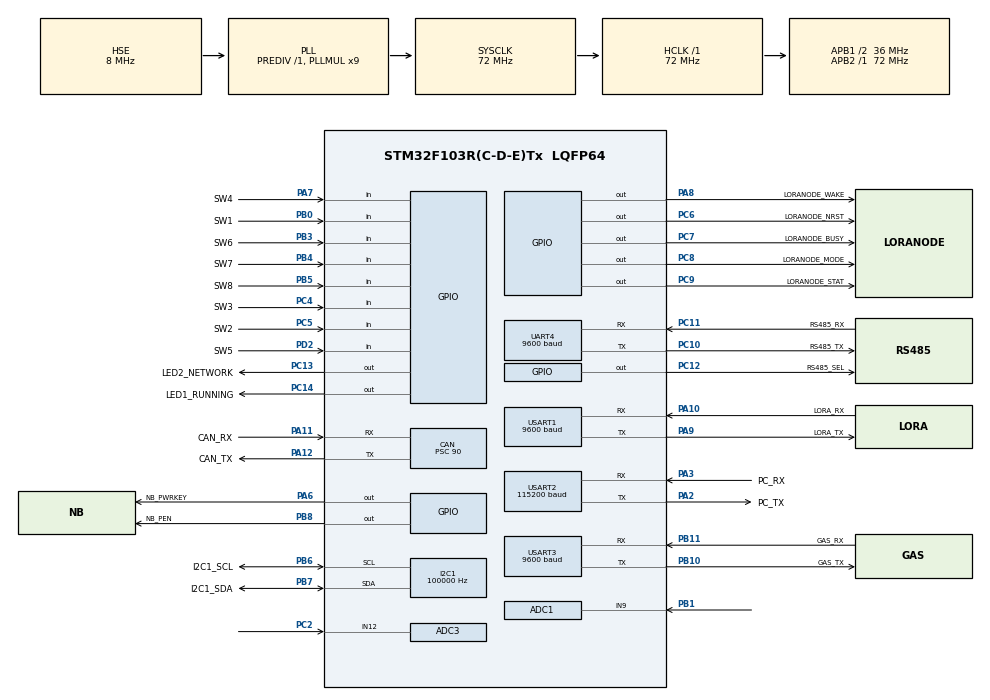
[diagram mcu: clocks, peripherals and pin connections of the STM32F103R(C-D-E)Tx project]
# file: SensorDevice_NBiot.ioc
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ADC1.Channel-0\#ChannelRegularConversion=ADC_CHANNEL_9
ADC1.InjNumberOfConversion=0
ADC1.NbrOfConversionFlag=1
ADC1.Rank-0\#ChannelRegularConversion=1
ADC1.SamplingTime-0\#ChannelRegularConversion=ADC_SAMPLETIME_239CYCLES_5
ADC1.master=1
ADC3.Channel-0\#ChannelRegularConversion=ADC_CHANNEL_12
ADC3.NbrOfConversionFlag=1
ADC3.Rank-0\#ChannelRegularConversion=1
ADC3.SamplingTime-0\#ChannelRegularConversion=ADC_SAMPLETIME_239CYCLES_5
CAN.BS1=CAN_BS1_6TQ
CAN.CalculateTimeBit=20000
CAN.CalculateTimeQuantum=2500.0
CAN.Prescaler=90
CAN.TXFP=DISABLE
Dma.ADC1.1.Direction=DMA_PERIPH_TO_MEMORY
Dma.ADC1.1.Instance=DMA1_Channel1
Dma.ADC1.1.MemDataAlignment=DMA_MDATAALIGN_HALFWORD
Dma.ADC1.1.MemInc=DMA_MINC_ENABLE
Dma.ADC1.1.Mode=DMA_NORMAL
Dma.ADC1.1.PeriphDataAlignment=DMA_PDATAALIGN_HALFWORD
Dma.ADC1.1.PeriphInc=DMA_PINC_DISABLE
Dma.ADC1.1.Priority=DMA_PRIORITY_LOW
Dma.Request0=USART1_RX
Dma.Request1=ADC1
Dma.Request2=USART2_RX
Dma.Request3=USART2_TX
Dma.Request4=UART4_RX
Dma.Request5=UART4_TX
Dma.Request6=USART3_RX
Dma.UART4_RX.4.Direction=DMA_PERIPH_TO_MEMORY
Dma.UART4_RX.4.Instance=DMA2_Channel3
Dma.UART4_RX.4.MemDataAlignment=DMA_MDATAALIGN_BYTE
Dma.UART4_RX.4.MemInc=DMA_MINC_ENABLE
Dma.UART4_RX.4.Mode=DMA_CIRCULAR
Dma.UART4_RX.4.PeriphDataAlignment=DMA_PDATAALIGN_BYTE
Dma.UART4_RX.4.PeriphInc=DMA_PINC_DISABLE
Dma.UART4_RX.4.Priority=DMA_PRIORITY_LOW
Dma.UART4_TX.5.Direction=DMA_MEMORY_TO_PERIPH
Dma.UART4_TX.5.Instance=DMA2_Channel5
Dma.UART4_TX.5.MemDataAlignment=DMA_MDATAALIGN_BYTE
Dma.UART4_TX.5.MemInc=DMA_MINC_ENABLE
Dma.UART4_TX.5.Mode=DMA_NORMAL
Dma.UART4_TX.5.PeriphDataAlignment=DMA_PDATAALIGN_BYTE
Dma.UART4_TX.5.PeriphInc=DMA_PINC_DISABLE
Dma.UART4_TX.5.Priority=DMA_PRIORITY_LOW
Dma.USART1_RX.0.Direction=DMA_PERIPH_TO_MEMORY
Dma.USART1_RX.0.Instance=DMA1_Channel5
Dma.USART1_RX.0.MemDataAlignment=DMA_MDATAALIGN_BYTE
Dma.USART1_RX.0.MemInc=DMA_MINC_ENABLE
Dma.USART1_RX.0.Mode=DMA_CIRCULAR
Dma.USART1_RX.0.PeriphDataAlignment=DMA_PDATAALIGN_BYTE
Dma.USART1_RX.0.PeriphInc=DMA_PINC_DISABLE
Dma.USART1_RX.0.Priority=DMA_PRIORITY_LOW
Dma.USART2_RX.2.Direction=DMA_PERIPH_TO_MEMORY
Dma.USART2_RX.2.Instance=DMA1_Channel6
Dma.USART2_RX.2.MemDataAlignment=DMA_MDATAALIGN_BYTE
Dma.USART2_RX.2.MemInc=DMA_MINC_ENABLE
Dma.USART2_RX.2.Mode=DMA_CIRCULAR
Dma.USART2_RX.2.PeriphDataAlignment=DMA_PDATAALIGN_BYTE
Dma.USART2_RX.2.PeriphInc=DMA_PINC_DISABLE
Dma.USART2_RX.2.Priority=DMA_PRIORITY_LOW
Dma.USART2_TX.3.Direction=DMA_MEMORY_TO_PERIPH
Dma.USART2_TX.3.Instance=DMA1_Channel7
Dma.USART2_TX.3.MemDataAlignment=DMA_MDATAALIGN_BYTE
Dma.USART2_TX.3.MemInc=DMA_MINC_ENABLE
Dma.USART2_TX.3.Mode=DMA_NORMAL
Dma.USART2_TX.3.PeriphDataAlignment=DMA_PDATAALIGN_BYTE
Dma.USART2_TX.3.PeriphInc=DMA_PINC_DISABLE
Dma.USART2_TX.3.Priority=DMA_PRIORITY_LOW
Dma.USART3_RX.6.Direction=DMA_PERIPH_TO_MEMORY
Dma.USART3_RX.6.Instance=DMA1_Channel3
Dma.USART3_RX.6.MemDataAlignment=DMA_MDATAALIGN_BYTE
Dma.USART3_RX.6.MemInc=DMA_MINC_ENABLE
Dma.USART3_RX.6.Mode=DMA_CIRCULAR
Dma.USART3_RX.6.PeriphDataAlignment=DMA_PDATAALIGN_BYTE
Dma.USART3_RX.6.PeriphInc=DMA_PINC_DISABLE
Dma.USART3_RX.6.Priority=DMA_PRIORITY_LOW
I2C1.ClockSpeed=100000
IWDG.Prescaler=IWDG_PRESCALER_256
IWDG.Reload=4000
Mcu.Family=STM32F1
Mcu.Name=STM32F103R(C-D-E)Tx
Mcu.Package=LQFP64
NVIC.DMA1_Channel1_IRQn=true\:0\:0\:false\:true\:true\:6\:false\:true
NVIC.DMA1_Channel3_IRQn=true\:0\:0\:false\:false\:true\:false\:true
NVIC.DMA1_Channel5_IRQn=true\:0\:0\:false\:true\:true\:1\:false\:true
NVIC.DMA1_Channel6_IRQn=true\:0\:0\:false\:true\:true\:4\:false\:true
NVIC.DMA1_Channel7_IRQn=true\:0\:0\:false\:true\:true\:5\:false\:true
NVIC.DMA2_Channel3_IRQn=true\:0\:0\:false\:false\:true\:false\:true
NVIC.DMA2_Channel4_5_IRQn=true\:0\:0\:false\:false\:true\:false\:true
NVIC.PriorityGroup=NVIC_PRIORITYGROUP_4
NVIC.TIM3_IRQn=true\:0\:0\:false\:false\:true\:true\:true
NVIC.TIM5_IRQn=true\:0\:0\:true\:false\:true\:true\:true
NVIC.UART4_IRQn=true\:0\:0\:false\:false\:true\:true\:true
NVIC.USART1_IRQn=true\:0\:0\:true\:true\:true\:2\:true\:true
NVIC.USART2_IRQn=true\:0\:0\:false\:true\:true\:3\:true\:true
NVIC.USART3_IRQn=true\:0\:0\:false\:false\:true\:true\:true
NVIC.USB_LP_CAN1_RX0_IRQn=true\:0\:0\:false\:false\:true\:true\:true
PA10.GPIO_Label=LORA_RX
PA10.Mode=Asynchronous
PA10.Signal=USART1_RX
PA11.GPIO_Label=CAN_RX
PA11.Mode=Master
PA11.Signal=CAN_RX
PA12.GPIO_Label=CAN_TX
PA12.Mode=Master
PA12.Signal=CAN_TX
PA13.Mode=Serial_Wire
PA13.Signal=SYS_JTMS-SWDIO
PA14.Mode=Serial_Wire
PA14.Signal=SYS_JTCK-SWCLK
PA2.GPIO_Label=PC_TX
PA2.Mode=Asynchronous
PA2.Signal=USART2_TX
PA3.GPIO_Label=PC_RX
PA3.Mode=Asynchronous
PA3.Signal=USART2_RX
PA6.GPIO_Label=NB_PWRKEY
PA6.Signal=GPIO_Output
PA7.GPIO_Label=SW4
PA7.GPIO_PuPd=GPIO_PULLDOWN
PA7.Signal=GPIO_Input
PA8.GPIO_Label=LORANODE_WAKE
PA8.Signal=GPIO_Output
PA9.GPIO_Label=LORA_TX
PA9.Mode=Asynchronous
PA9.Signal=USART1_TX
PB0.GPIO_Label=SW1
PB0.GPIO_PuPd=GPIO_PULLDOWN
PB0.Signal=GPIO_Input
PB1.Signal=ADCx_IN9
PB10.GPIO_Label=GAS_TX
PB10.Mode=Asynchronous
PB10.Signal=USART3_TX
PB11.GPIO_Label=GAS_RX
PB11.Mode=Asynchronous
PB11.Signal=USART3_RX
PB3.GPIO_Label=SW6
PB3.GPIO_PuPd=GPIO_PULLDOWN
PB3.Signal=GPIO_Input
PB4.GPIO_Label=SW7
PB4.GPIO_PuPd=GPIO_PULLDOWN
PB4.Signal=GPIO_Input
PB5.GPIO_Label=SW8
PB5.GPIO_PuPd=GPIO_PULLDOWN
PB5.Signal=GPIO_Input
PB6.GPIO_Label=I2C1_SCL
PB6.Mode=I2C
PB6.Signal=I2C1_SCL
PB7.GPIO_Label=I2C1_SDA
PB7.Mode=I2C
PB7.Signal=I2C1_SDA
PB8.GPIO_Label=NB_PEN
PB8.Signal=GPIO_Output
PC10.GPIO_Label=RS485_TX
PC10.Mode=Asynchronous
PC10.Signal=UART4_TX
PC11.GPIO_Label=RS485_RX
PC11.Mode=Asynchronous
PC11.Signal=UART4_RX
PC12.GPIO_Label=RS485_SEL
PC12.Signal=GPIO_Output
PC13-TAMPER-RTC.GPIO_Label=LED2_NETWORK
PC13-TAMPER-RTC.Signal=GPIO_Output
PC14-OSC32_IN.GPIO_Label=LED1_RUNNING
PC14-OSC32_IN.Signal=GPIO_Output
PC2.Signal=ADCx_IN12
PC4.GPIO_Label=SW3
PC4.GPIO_PuPd=GPIO_PULLDOWN
PC4.Signal=GPIO_Input
PC5.GPIO_Label=SW2
PC5.GPIO_PuPd=GPIO_PULLDOWN
PC5.Signal=GPIO_Input
PC6.GPIO_Label=LORANODE_NRST
PC6.Signal=GPIO_Output
PC7.GPIO_Label=LORANODE_BUSY
PC7.Signal=GPIO_Output
PC8.GPIO_Label=LORANODE_MODE
PC8.Signal=GPIO_Output
PC9.GPIO_Label=LORANODE_STAT
PC9.Signal=GPIO_Output
PD0-OSC_IN.Mode=HSE-External-Oscillator
PD0-OSC_IN.Signal=RCC_OSC_IN
PD1-OSC_OUT.Mode=HSE-External-Oscillator
PD1-OSC_OUT.Signal=RCC_OSC_OUT
PD2.GPIO_Label=SW5
PD2.GPIO_PuPd=GPIO_PULLDOWN
PD2.Signal=GPIO_Input
ProjectManager.HeapSize=0x200
ProjectManager.StackSize=0x400
ProjectManager.TargetToolchain=TrueSTUDIO
RCC.ADCPresc=RCC_ADCPCLK2_DIV6
RCC.AHBFreq_Value=72000000
RCC.APB1CLKDivider=RCC_HCLK_DIV2
RCC.APB1Freq_Value=36000000
RCC.APB1TimFreq_Value=72000000
RCC.APB2Freq_Value=72000000
RCC.APB2TimFreq_Value=72000000
RCC.HCLKFreq_Value=72000000
RCC.PLLMUL=RCC_PLL_MUL9
RCC.PLLSourceVirtual=RCC_PLLSOURCE_HSE
RCC.SYSCLKFreq_VALUE=72000000
RCC.SYSCLKSource=RCC_SYSCLKSOURCE_PLLCLK
RCC.USBFreq_Value=72000000
SH.ADCx_IN12.0=ADC3_IN12,IN12
SH.ADCx_IN9.0=ADC1_IN9,IN9
TIM2.Period=2-1
TIM2.Prescaler=72-1
TIM3.Period=10000-1
TIM3.Prescaler=7200-1
TIM5.AutoReloadPreload=TIM_AUTORELOAD_PRELOAD_DISABLE
TIM5.Period=50000-1
TIM5.Prescaler=7200-1
UART4.BaudRate=9600
UART4.VirtualMode=Asynchronous
USART1.BaudRate=9600
USART1.VirtualMode=VM_ASYNC
USART2.BaudRate=115200
USART2.VirtualMode=VM_ASYNC
USART3.BaudRate=9600
USART3.VirtualMode=VM_ASYNC
VP_IWDG_VS_IWDG.Mode=IWDG_Activate
VP_TIM2_VS_ClockSourceINT.Mode=Internal
VP_TIM3_VS_ClockSourceINT.Mode=Internal
VP_TIM5_VS_ClockSourceINT.Mode=Internal
board=custom

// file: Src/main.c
/* USER CODE BEGIN Header */
/**
  ******************************************************************************
  * @file           : main.c
  * @brief          : Main program body
  ******************************************************************************
  * @attention
  *
  * <h2><center>&copy; Copyright (c) 2019 STMicroelectronics.
  * All rights reserved.</center></h2>
  *
  * This software component is licensed by ST under BSD 3-Clause license,
  * the "License"; You may not use this file except in compliance with the
  * License. You may obtain a copy of the License at:
  *                        opensource.org/licenses/BSD-3-Clause
  *
  ******************************************************************************
  */
/* USER CODE END Header */

#include "main.h"
#include "adc.h"
#include "can.h"
#include "dma.h"
#include "i2c.h"
#include "iwdg.h"
#include "tim.h"
#include "usart.h"
#include "gpio.h"

/* USER CODE BEGIN Includes */
#include "SensorTask.h"
#include "LoraAnalysis.h"
#include "CanAnalysis.h"
#include "LoraNode.h"
#include "SHT30.h"
#include "Led.h"
#include "NBiotTask.h"
#include "AlarmTask.h"
/* USER CODE END Includes */

void SystemClock_Config(void);
static void MX_NVIC_Init(void);

int main(void)
{

  /* MCU Configuration--------------------------------------------------------*/

  /* Reset of all peripherals, Initializes the Flash interface and the Systick. */
  HAL_Init();

  /* Configure the system clock */
  SystemClock_Config();

  /* Initialize all configured peripherals */
  MX_GPIO_Init();
  MX_DMA_Init();
  MX_ADC1_Init();
  MX_I2C1_Init();
  MX_UART4_Init();
  MX_USART1_UART_Init();
  MX_USART3_UART_Init();
  MX_TIM5_Init();
  MX_TIM2_Init();
  MX_USART2_UART_Init();
  MX_CAN_Init();
  MX_IWDG_Init();
  MX_ADC3_Init();
  MX_TIM3_Init();

  /* Initialize interrupts */
  MX_NVIC_Init();
  /* USER CODE BEGIN 2 */

  HAL_IWDG_Init(&hiwdg);                //初始化并开启iwdg
  HAL_TIM_Base_Start_IT(&htim3);        //使能定时器3中断，1s进入一次，
  HAL_TIM_Base_Start_IT(&htim5);        //使能定时器5中断，5s进入一次，控制读取传感器数值频率

  //串口空闲中断初始化
  UART_IT_IDLE_InitAll();

  //各硬件外设初始化
  Hardware_Init();

  //NB模组初始化
  NBiot_Init();

  /* USER CODE END 2 */

  /* Infinite loop */
  while (1)
  {

    /* USER CODE BEGIN 3 */

	Sensor_Task();
	NBiot_Task();
	Alarm_Task();

//	LoraAnalysis();
//	CanAnalysis();

	HAL_IWDG_Refresh(&hiwdg);     //喂狗，即重新加载计数值
  }
  /* USER CODE END 3 */
}

void SystemClock_Config(void)
{
  RCC_OscInitTypeDef RCC_OscInitStruct = {0};
  RCC_ClkInitTypeDef RCC_ClkInitStruct = {0};
  RCC_PeriphCLKInitTypeDef PeriphClkInit = {0};

  /** Initializes the CPU, AHB and APB busses clocks
  */
  RCC_OscInitStruct.OscillatorType = RCC_OSCILLATORTYPE_LSI|RCC_OSCILLATORTYPE_HSE;
  RCC_OscInitStruct.HSEState = RCC_HSE_ON;
  RCC_OscInitStruct.HSEPredivValue = RCC_HSE_PREDIV_DIV1;
  RCC_OscInitStruct.HSIState = RCC_HSI_ON;
  RCC_OscInitStruct.LSIState = RCC_LSI_ON;
  RCC_OscInitStruct.PLL.PLLState = RCC_PLL_ON;
  RCC_OscInitStruct.PLL.PLLSource = RCC_PLLSOURCE_HSE;
  RCC_OscInitStruct.PLL.PLLMUL = RCC_PLL_MUL9;
  if (HAL_RCC_OscConfig(&RCC_OscInitStruct) != HAL_OK)
  {
    Error_Handler();
  }
  /** Initializes the CPU, AHB and APB busses clocks
  */
  RCC_ClkInitStruct.ClockType = RCC_CLOCKTYPE_HCLK|RCC_CLOCKTYPE_SYSCLK
                              |RCC_CLOCKTYPE_PCLK1|RCC_CLOCKTYPE_PCLK2;
  RCC_ClkInitStruct.SYSCLKSource = RCC_SYSCLKSOURCE_PLLCLK;
  RCC_ClkInitStruct.AHBCLKDivider = RCC_SYSCLK_DIV1;
  RCC_ClkInitStruct.APB1CLKDivider = RCC_HCLK_DIV2;
  RCC_ClkInitStruct.APB2CLKDivider = RCC_HCLK_DIV1;

  if (HAL_RCC_ClockConfig(&RCC_ClkInitStruct, FLASH_LATENCY_2) != HAL_OK)
  {
    Error_Handler();
  }
  PeriphClkInit.PeriphClockSelection = RCC_PERIPHCLK_ADC;
  PeriphClkInit.AdcClockSelection = RCC_ADCPCLK2_DIV6;
  if (HAL_RCCEx_PeriphCLKConfig(&PeriphClkInit) != HAL_OK)
  {
    Error_Handler();
  }
}

/**
  * @brief NVIC Configuration.
  * @retval None
  */
static void MX_NVIC_Init(void)
{
  /* DMA1_Channel5_IRQn interrupt configuration */
  HAL_NVIC_SetPriority(DMA1_Channel5_IRQn, 0, 0);
  HAL_NVIC_EnableIRQ(DMA1_Channel5_IRQn);
  /* USART1_IRQn interrupt configuration */
  HAL_NVIC_SetPriority(USART1_IRQn, 0, 0);
  HAL_NVIC_EnableIRQ(USART1_IRQn);
  /* USART2_IRQn interrupt configuration */
  HAL_NVIC_SetPriority(USART2_IRQn, 0, 0);
  HAL_NVIC_EnableIRQ(USART2_IRQn);
  /* DMA1_Channel6_IRQn interrupt configuration */
  HAL_NVIC_SetPriority(DMA1_Channel6_IRQn, 0, 0);
  HAL_NVIC_EnableIRQ(DMA1_Channel6_IRQn);
  /* DMA1_Channel7_IRQn interrupt configuration */
  HAL_NVIC_SetPriority(DMA1_Channel7_IRQn, 0, 0);
  HAL_NVIC_EnableIRQ(DMA1_Channel7_IRQn);
  /* DMA1_Channel1_IRQn interrupt configuration */
  HAL_NVIC_SetPriority(DMA1_Channel1_IRQn, 0, 0);
  HAL_NVIC_EnableIRQ(DMA1_Channel1_IRQn);
}

/* USER CODE BEGIN 4 */

/*软件复位*/
void McuReset(void)
{
//	__disable_fault_irq();
    __set_FAULTMASK(1);           // 关闭所有中断
    HAL_NVIC_SystemReset();
}

/* USER CODE END 4 */

void Error_Handler(void)
{
}

/************************ (C) COPYRIGHT STMicroelectronics *****END OF FILE****/
